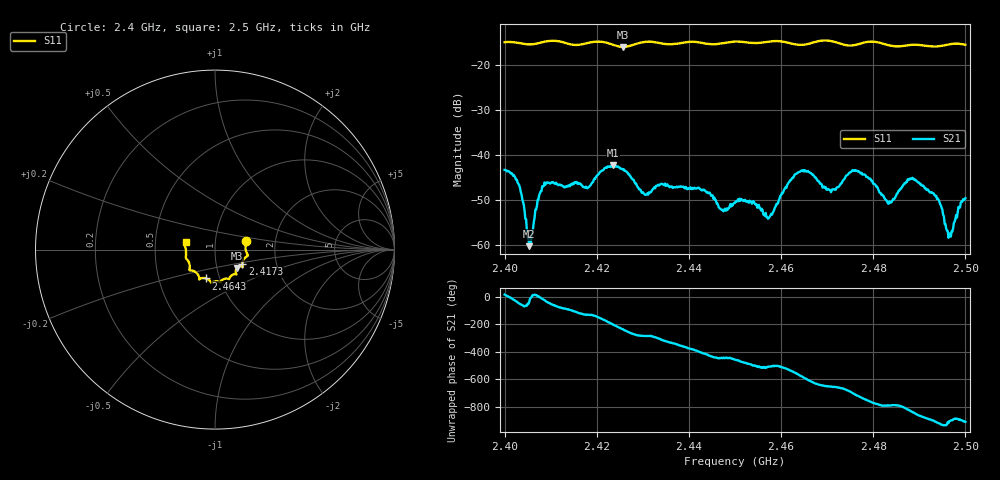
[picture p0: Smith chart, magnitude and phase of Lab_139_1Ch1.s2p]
# Hz S RI R 50
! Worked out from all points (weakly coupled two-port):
!   601 points, 2.4 GHz to 2.5 GHz, reference 50 ohm
!   highest |S21| = -42.23 dB at 2.4235 GHz (marker M1); lowest = -60.2 dB at 2.4053 GHz (marker M2)
!   lowest |S11| = -15.9 dB at 2.4257 GHz (marker M3), VSWR 1.38, Z = 62.4 - j13.1 ohm
!   |S11| at or under -10 dB: start of sweep to end of sweep
!   S12 and S22 are empty: the file has one direction only
!   S11 on the Smith chart (normalised r, x): 2.4 GHz: 1.41, +0.15; 2.4173 GHz: 1.34, -0.23; 2.4643 GHz: 0.86, -0.28; 2.5 GHz: 0.72, +0.06
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2.4e9  0.1733 0.0498  0.00657 0.00203  0 0  0 0
2.403167e9  0.1733 0.0335  0.00313 -0.00341  0 0  0 0
2.405333e9  0.17 0.00933  0.000773 -0.000598  0 0  0 0
2.408667e9  0.1807 -0.0262  0.00456 -0.00204  0 0  0 0
2.416667e9  0.1529 -0.0745  -0.0025 -0.00393  0 0  0 0
2.417333e9  0.1523 -0.0819  -0.00271 -0.00346  0 0  0 0
2.4235e9  0.1407 -0.0936  -0.00723 0.00276  0 0  0 0
2.425667e9  0.1225 -0.1023  -0.00402 0.00564  0 0  0 0
2.430333e9  0.1188 -0.1369  0.000901 0.00358  0 0  0 0
2.433333e9  0.1127 -0.137  0.00248 0.004  0 0  0 0
2.447167e9  0.0393 -0.1703  0.000283 -0.00244  0 0  0 0
2.45e9  0.0295 -0.1808  -0.000332 -0.00294  0 0  0 0
2.4575e9  -0.0165 -0.1824  -0.00173 -0.00112  0 0  0 0
2.464333e9  -0.0504 -0.1604  -0.00544 0.00399  0 0  0 0
2.466667e9  -0.0762 -0.1597  -0.00134 0.006  0 0  0 0
2.471167e9  -0.0871 -0.1621  0.00172 0.00382  0 0  0 0
2.4765e9  -0.122 -0.1179  0.00673 0.000279  0 0  0 0
2.483333e9  -0.1407 -0.0893  0.000969 -0.00272  0 0  0 0
2.488833e9  -0.1621 -0.047  -0.00292 -0.00463  0 0  0 0
2.493833e9  -0.1618 -0.00326  -0.00318 0.000744  0 0  0 0
2.496667e9  -0.1696 0.0246  -0.00129 3.6e-05  0 0  0 0
2.5e9  -0.1635 0.0421  -0.0033 0.000471  0 0  0 0
